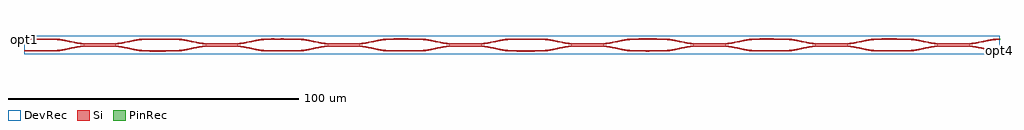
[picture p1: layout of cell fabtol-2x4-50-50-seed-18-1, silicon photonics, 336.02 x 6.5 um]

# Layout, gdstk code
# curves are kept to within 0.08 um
import gdstk
lib = gdstk.Library(unit=1e-6, precision=1e-09)
def R(c, l, rs):  # rectangles x0, y0, x1, y1
    for r in rs: c.add(gdstk.rectangle(r[:2], r[2:], *l))
def P(c, l, *ps):  # polygons
    for p in ps: c.add(gdstk.Polygon(p, *l))
Si = (1, 0)
PinRec = (1, 10)
DevRec = (68, 0)

layer_3_0_phase_sec_3_7 = lib.new_cell('layer-3_0_phase_sec_3$7')
P(layer_3_0_phase_sec_3_7, Si, [(5.951,-0.231),(0,-0.225),(0,0.225),(10,0.225),(10,-0.225)])

layer_3_0_phase_sec_2_7 = lib.new_cell('layer-3_0_phase_sec_2$7')
P(layer_3_0_phase_sec_2_7, Si, [(3.902,-0.248),(0,-0.225),(0,0.225),(10,0.225),(10,-0.225)])

layer_2_0_phase_sec_3_7 = lib.new_cell('layer-2_0_phase_sec_3$7')
P(layer_2_0_phase_sec_3_7, Si, [(3.993,-0.24),(0,-0.225),(0,0.225),(10,0.225),(10,-0.225)])

layer_0_0_phase_sec_1_7 = lib.new_cell('layer-0_0_phase_sec_1$7')
P(layer_0_0_phase_sec_1_7, Si, [(3.16,-0.23),(0,-0.225),(0,0.225),(10,0.225),(10,-0.225)])

layer_3_0_phase_sec_1_7 = lib.new_cell('layer-3_0_phase_sec_1$7')
P(layer_3_0_phase_sec_1_7, Si, [(3.73,-0.238),(0,-0.225),(0,0.225),(10,0.225),(10,-0.225)])

layer_0_0_phase_sec_2_7 = lib.new_cell('layer-0_0_phase_sec_2$7')
P(layer_0_0_phase_sec_2_7, Si, [(6.821,-0.231),(0,-0.225),(0,0.225),(10,0.225),(10,-0.225)])

layer_3_0_phase_sec_0_7 = lib.new_cell('layer-3_0_phase_sec_0$7')
P(layer_3_0_phase_sec_0_7, Si, [(1.236,-0.24),(0,-0.225),(0,0.225),(10,0.225),(10,-0.225)])

layer_1_0_phase_sec_1_7 = lib.new_cell('layer-1_0_phase_sec_1$7')
P(layer_1_0_phase_sec_1_7, Si, [(2.574,-0.239),(0,-0.225),(0,0.225),(10,0.225),(10,-0.225)])

layer_0_0_phase_sec_0_7 = lib.new_cell('layer-0_0_phase_sec_0$7')
P(layer_0_0_phase_sec_0_7, Si, [(2.632,-0.23),(0,-0.225),(0,0.225),(10,0.225),(10,-0.225)])

layer_1_0_phase_sec_2_7 = lib.new_cell('layer-1_0_phase_sec_2$7')
P(layer_1_0_phase_sec_2_7, Si, [(6.247,-0.248),(0,-0.225),(0,0.225),(10,0.225),(10,-0.225)])

layer_1_0_phase_sec_0_7 = lib.new_cell('layer-1_0_phase_sec_0$7')
P(layer_1_0_phase_sec_0_7, Si, [(2.161,-0.237),(0,-0.225),(0,0.225),(10,0.225),(10,-0.225)])

layer_1_0_phase_sec_3_7 = lib.new_cell('layer-1_0_phase_sec_3$7')
P(layer_1_0_phase_sec_3_7, Si, [(1.226,-0.229),(0,-0.225),(0,0.225),(10,0.225),(10,-0.225)])

dc_arm_down_7 = lib.new_cell('dc_arm_down$7')
R(dc_arm_down_7, Si, [(12,-0.55,20,-0.1)])
P(dc_arm_down_7, Si, [(32,-2.225),(30.861,-2.188),(29.344,-2.033),(22.966,-0.793),(21.481,-0.613),(20,-0.55),(20,-0.1),(21.139,-0.137),(22.656,-0.292),(29.034,-1.532),(30.519,-1.712),(32,-1.775)],
  [(0,-2.225),(0,-1.775),(1.481,-1.712),(2.966,-1.532),(9.344,-0.292),(10.861,-0.137),(12,-0.1),(12,-0.55),(10.519,-0.613),(9.034,-0.793),(2.656,-2.033),(1.139,-2.188)])

dc_arm_up_7 = lib.new_cell('dc_arm_up$7')
R(dc_arm_up_7, Si, [(12,0.1,20,0.55)])
P(dc_arm_up_7, Si, [(20,0.1),(20,0.55),(21.481,0.613),(22.966,0.793),(29.344,2.033),(30.861,2.188),(32,2.225),(32,1.775),(30.519,1.712),(29.034,1.532),(22.656,0.292),(21.139,0.137)],
  [(12,0.1),(10.861,0.137),(9.344,0.292),(2.966,1.532),(1.481,1.712),(0,1.775),(0,2.225),(1.139,2.188),(2.656,2.033),(9.034,0.793),(10.519,0.613),(12,0.55)])

dc_7 = lib.new_cell('dc$7')
dc_7.add(gdstk.Reference(dc_arm_down_7, (0,0)))
dc_7.add(gdstk.Reference(dc_arm_up_7, (0,0)))

layer_2_0_phase_sec_0_7 = lib.new_cell('layer-2_0_phase_sec_0$7')
P(layer_2_0_phase_sec_0_7, Si, [(2.821,-0.226),(0,-0.225),(0,0.225),(10,0.225),(10,-0.225)])

layer_2_0_phase_sec_1_7 = lib.new_cell('layer-2_0_phase_sec_1$7')
P(layer_2_0_phase_sec_1_7, Si, [(1.575,-0.252),(0,-0.225),(0,0.225),(10,0.225),(10,-0.225)])

layer_0_0_phase_sec_3_7 = lib.new_cell('layer-0_0_phase_sec_3$7')
P(layer_0_0_phase_sec_3_7, Si, [(2.704,-0.248),(0,-0.225),(0,0.225),(10,0.225),(10,-0.225)])

layer_2_0_phase_sec_2_7 = lib.new_cell('layer-2_0_phase_sec_2$7')
P(layer_2_0_phase_sec_2_7, Si, [(1.556,-0.24),(0,-0.225),(0,0.225),(10,0.225),(10,-0.225)])

fabtol_2x4_50_50_seed_18 = lib.new_cell('fabtol-2x4-50-50-seed-18-1')
R(fabtol_2x4_50_50_seed_18, DevRec, [(0,-1,336,5.5)])
fabtol_2x4_50_50_seed_18.add(gdstk.FlexPath([(335.99,0.252),(336.01,0.252)], 0.45, ends="flush", simple_path=True, layer=1, datatype=10))  # PinRec
fabtol_2x4_50_50_seed_18.add(gdstk.FlexPath([(335.99,4.252),(336.01,4.252)], 0.45, ends="flush", simple_path=True, layer=1, datatype=10))  # PinRec
fabtol_2x4_50_50_seed_18.add(gdstk.FlexPath([(0.01,4.252),(-0.01,4.252)], 0.45, ends="flush", simple_path=True, layer=1, datatype=10))  # PinRec
fabtol_2x4_50_50_seed_18.add(gdstk.Reference(layer_3_0_phase_sec_3_7, (294,0.252)))
fabtol_2x4_50_50_seed_18.add(gdstk.Reference(layer_3_0_phase_sec_2_7, (294,4.252)))
fabtol_2x4_50_50_seed_18.add(gdstk.Reference(layer_2_0_phase_sec_3_7, (210,0.252)))
fabtol_2x4_50_50_seed_18.add(gdstk.Reference(layer_0_0_phase_sec_1_7, (0,0.252)))
fabtol_2x4_50_50_seed_18.add(gdstk.Reference(layer_3_0_phase_sec_1_7, (252,0.252)))
fabtol_2x4_50_50_seed_18.add(gdstk.Reference(layer_0_0_phase_sec_2_7, (42,4.252)))
fabtol_2x4_50_50_seed_18.add(gdstk.Reference(layer_3_0_phase_sec_0_7, (252,4.252)))
fabtol_2x4_50_50_seed_18.add(gdstk.Reference(layer_1_0_phase_sec_1_7, (84,0.252)))
fabtol_2x4_50_50_seed_18.add(gdstk.Reference(layer_0_0_phase_sec_0_7, (0,4.252)))
fabtol_2x4_50_50_seed_18.add(gdstk.Reference(layer_1_0_phase_sec_2_7, (126,4.252)))
fabtol_2x4_50_50_seed_18.add(gdstk.Reference(layer_1_0_phase_sec_0_7, (84,4.252)))
fabtol_2x4_50_50_seed_18.add(gdstk.Reference(layer_1_0_phase_sec_3_7, (126,0.252)))
fabtol_2x4_50_50_seed_18.add(gdstk.Reference(dc_7, (10,2.252)))
fabtol_2x4_50_50_seed_18.add(gdstk.Reference(dc_7, (52,2.252)))
fabtol_2x4_50_50_seed_18.add(gdstk.Reference(dc_7, (94,2.252)))
fabtol_2x4_50_50_seed_18.add(gdstk.Reference(dc_7, (136,2.252)))
fabtol_2x4_50_50_seed_18.add(gdstk.Reference(dc_7, (178,2.252)))
fabtol_2x4_50_50_seed_18.add(gdstk.Reference(dc_7, (220,2.252)))
fabtol_2x4_50_50_seed_18.add(gdstk.Reference(dc_7, (262,2.252)))
fabtol_2x4_50_50_seed_18.add(gdstk.Reference(dc_7, (304,2.252)))
fabtol_2x4_50_50_seed_18.add(gdstk.Reference(layer_2_0_phase_sec_0_7, (168,4.252)))
fabtol_2x4_50_50_seed_18.add(gdstk.Reference(layer_2_0_phase_sec_1_7, (168,0.252)))
fabtol_2x4_50_50_seed_18.add(gdstk.Reference(layer_0_0_phase_sec_3_7, (42,0.252)))
fabtol_2x4_50_50_seed_18.add(gdstk.Reference(layer_2_0_phase_sec_2_7, (210,4.252)))
fabtol_2x4_50_50_seed_18.add(gdstk.Label('opt4', (336,0.252), layer=1, texttype=10))
fabtol_2x4_50_50_seed_18.add(gdstk.Label('opt3', (336,4.252), layer=1, texttype=10))
fabtol_2x4_50_50_seed_18.add(gdstk.Label('opt1', (0,4.252), layer=1, texttype=10))

lib.write_gds('fabtol-2x4-50-50-seed-18-1.gds')
